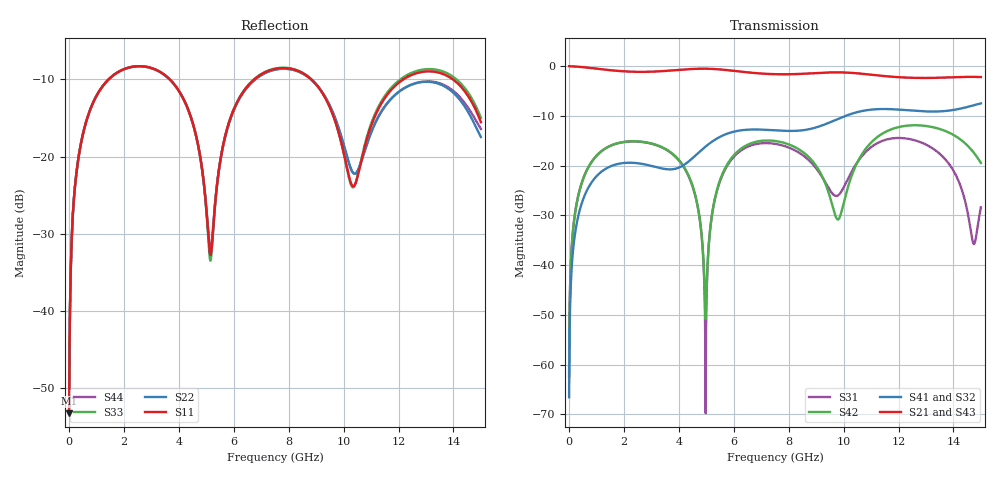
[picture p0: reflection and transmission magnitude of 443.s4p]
! Created with skrf 1.8.0 (http://scikit-rf.org).
# GHz S RI R 50.0
!freq ReS11 ImS11 ReS12 ImS12 ReS13 ImS13
! ReS14 ImS14
! ReS21 ImS21 ReS22 ImS22 ReS23 ImS23
! ReS24 ImS24
! ReS31 ImS31 ReS32 ImS32 ReS33 ImS33
! ReS34 ImS34
! ReS41 ImS41 ReS42 ImS42 ReS43 ImS43
! ReS44 ImS44
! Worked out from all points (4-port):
!   2499 points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, 5 MHz to 15 GHz, reference 50 ohm
!   strongest paths, dB at 5 MHz, 3.476 GHz, 7.19 GHz, 11.1 GHz, 15 GHz:
!     S21: 0.0, -1.0, -1.6, -1.8, -2.2
!     S43: 0.0, -1.0, -1.6, -1.8, -2.2
!     S41: -66.6, -20.7, -12.8, -8.7, -7.5
!     S32: -66.6, -20.8, -12.9, -8.7, -7.5
!     S42: -62.4, -16.5, -15.0, -14.9, -19.5
!     S31: -62.4, -16.6, -15.5, -15.9, -28.4
!   lowest |S11| = -53.3 dB at 5 MHz (marker M1), VSWR 1.00, Z = 50.2 + j0.131 ohm
!   |S11| at or under -10 dB: start of sweep to 1.439 GHz; 3.673 GHz to 6.747 GHz (3.074 GHz wide, 59 % of centre); 8.824 GHz to 12.17 GHz (3.349 GHz wide, 31.9 % of centre) (the widest 3 of 4)
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0.005  0.00173 0.00131  0.9982 -0.00338  8.97e-05 0.000753  -8.67e-05 -0.000462
       0.9982 -0.00338  0.00173 0.00131  -8.67e-05 -0.000462  8.97e-05 0.000753
       8.97e-05 0.000753  -8.67e-05 -0.000462  0.00173 0.00131  0.9982 -0.00338
       -8.67e-05 -0.000462  8.97e-05 0.000753  0.9982 -0.00338  0.00173 0.00131
0.3626511  0.0333 0.0973  0.9539 -0.2407  0.0172 0.0505  -0.0142 -0.0301
           0.9539 -0.2407  0.0333 0.0973  -0.0141 -0.0301  0.0174 0.0504
           0.0172 0.0505  -0.0141 -0.0301  0.0333 0.0973  0.9539 -0.2407
           -0.0142 -0.0301  0.0174 0.0504  0.9539 -0.2407  0.0333 0.0973
1.67  0.306 0.1535  0.4578 -0.7752  0.1544 0.0559  -0.1014 0.0112
      0.4578 -0.7752  0.3055 0.154  -0.1011 0.0109  0.1561 0.0531
      0.1544 0.0559  -0.1011 0.0109  0.3062 0.1533  0.4578 -0.7752
      -0.1014 0.0112  0.1561 0.0531  0.4578 -0.7752  0.3052 0.1542
4.977074  0.0275 -0.0437  -0.922 -0.1895  0.000229 0.000229  -0.0244 0.1536
          -0.922 -0.1895  0.0278 -0.0439  -0.0286 0.1528  0.00285 -0.000206
          0.000229 0.000229  -0.0286 0.1528  0.0255 -0.0432  -0.9221 -0.1892
          -0.0244 0.1536  0.00285 -0.000206  -0.9221 -0.1892  0.0294 -0.0427
6.090038  0.1449 0.1641  -0.7816 0.4268  0.1036 0.0778  0.1368 0.1748
          -0.7816 0.4268  0.1417 0.1636  0.1317 0.178  0.1141 0.0716
          0.1036 0.0778  0.1317 0.178  0.1445 0.1666  -0.7812 0.4269
          0.1368 0.1748  0.1141 0.0716  -0.7812 0.4269  0.1434 0.1632
10.41684  0.0654 0.00877  0.8422 0.1149  -0.0206 0.0974  0.0285 -0.3388
          0.8422 0.1149  0.0775 -0.0037  0.0447 -0.337  0.0215 0.0936
          -0.0206 0.0974  0.0447 -0.337  0.0648 0.0121  0.8421 0.115
          0.0285 -0.3388  0.0215 0.0936  0.8421 0.115  0.0774 -0.00404
15  0.116 -0.1206  -0.6287 -0.4551  -0.0213 0.0316  -0.2307 0.3537
    -0.6287 -0.4551  0.1268 -0.0435  -0.2584 0.3337  -0.0837 -0.0657
    -0.0213 0.0316  -0.2584 0.3337  0.1199 -0.1325  -0.6231 -0.459
    -0.2307 0.3537  -0.0837 -0.0657  -0.6231 -0.459  0.1433 -0.048
